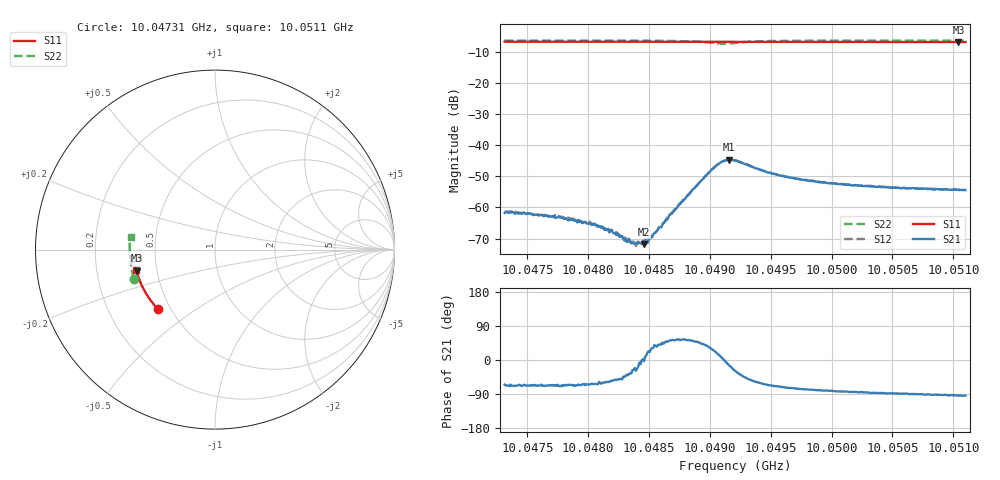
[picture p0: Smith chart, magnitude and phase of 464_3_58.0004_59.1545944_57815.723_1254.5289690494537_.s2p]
#  HZ  S  RI  R  50.00
! Rohde & Schwarz Vector Network Analyzer
! Rohde-Schwarz,ZNB20-2Port,1311601062101988,3.16
! Created: UTC 3/21/2024, 1:11:06 AM
! freq[Hz]  re:S11  im:S11  re:S21  im:S21  re:S12  im:S12  re:S22  im:S22
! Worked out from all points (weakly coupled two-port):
!   401 points, 10.04731 GHz to 10.0511 GHz, reference 50 ohm
!   highest |S21| = -44.69 dB at 10.04916 GHz (marker M1); lowest = -71.8 dB at 10.04846 GHz (marker M2)
!   lowest |S11| = -6.9 dB at 10.05104 GHz (marker M3), VSWR 2.65, Z = 19.1 - j5.63 ohm
!   |S11| at or under -10 dB: nowhere
!   |S22| runs from -7.5 to -6.4 dB; largest |S21 - S12| = 0.00043
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1.0047313e10  -0.3198 -0.3288  0.000345 -0.000737  0.000376 -0.000776  -0.4512 -0.1615
1.0047777e10  -0.3404 -0.3061  0.00024 -0.000638  0.000322 -0.000638  -0.4599 -0.1308
1.0047948e10  -0.3475 -0.2975  0.000238 -0.000507  0.000281 -0.00051  -0.4627 -0.119
1.0048033e10  -0.3509 -0.2929  0.000241 -0.000464  0.000288 -0.000469  -0.4639 -0.1129
1.0048203e10  -0.3578 -0.2841  0.000232 -0.000316  0.000227 -0.000322  -0.4661 -0.1006
1.0048307e10  -0.3619 -0.2786  0.000228 -0.000208  0.00026 -0.000194  -0.4671 -0.0928
1.0048364e10  -0.3641 -0.2756  0.000237 -0.000119  0.000259 -0.000115  -0.4675 -0.0882
1.0048459e10  -0.3675 -0.2704  0.000256 -1.3e-05  0.000239 5.28e-05  -0.4681 -0.0809
1.0048478e10  -0.3685 -0.2695  0.000279 5.99e-05  0.00027 5.78e-05  -0.4679 -0.0794
1.0048506e10  -0.3695 -0.268  0.000295 0.000112  0.000292 0.000142  -0.4681 -0.0769
1.0048582e10  -0.3723 -0.2638  0.000362 0.000311  0.00036 0.000319  -0.4681 -0.0702
1.0048752e10  -0.3782 -0.2543  0.000697 0.000907  0.000599 0.000947  -0.4654 -0.0539
1.0049017e10  -0.3871 -0.2392  0.00359 0.00194  0.00348 0.00218  -0.4377 -0.0307
1.0049093e10  -0.3893 -0.235  0.00528 0.000722  0.00523 0.00102  -0.4232 -0.0404
1.0049159e10  -0.3913 -0.2314  0.00564 -0.00147  0.00573 -0.00107  -0.4229 -0.0568
1.0049206e10  -0.393 -0.2288  0.00499 -0.0027  0.00521 -0.00234  -0.4311 -0.065
1.0049509e10  -0.4024 -0.2112  0.00137 -0.00324  0.00154 -0.00317  -0.4679 -0.046
1.0049841e10  -0.4116 -0.1916  0.000516 -0.0026  0.000704 -0.00259  -0.4748 -0.0165
1.0050106e10  -0.4184 -0.1756  0.000288 -0.00234  0.000414 -0.00229  -0.4761 0.00377
1.0050475e10  -0.4266 -0.1527  7.21e-05 -0.0021  0.000201 -0.00213  -0.4752 0.0301
1.0051043e10  -0.4367 -0.117  -0.000128 -0.00191  -7.52e-06 -0.00193  -0.4712 0.0688
1.0051099e10  -0.4378 -0.1136  -0.000126 -0.00189  -3.1e-05 -0.00191  -0.4707 0.0724
